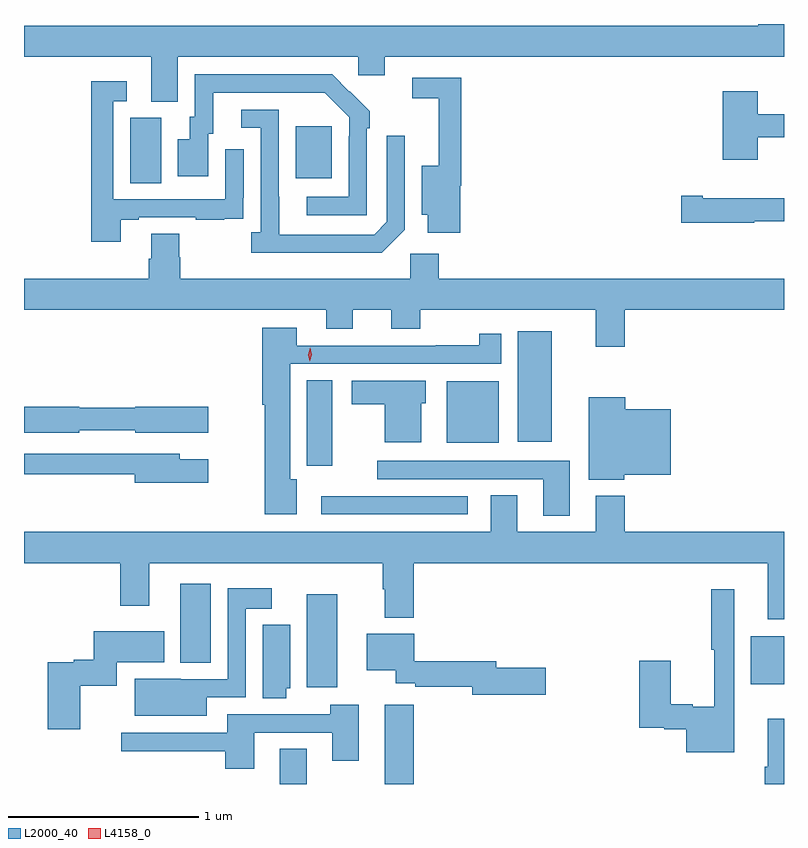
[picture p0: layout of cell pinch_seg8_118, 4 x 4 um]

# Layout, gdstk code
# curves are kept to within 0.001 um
import gdstk
lib = gdstk.Library(unit=1e-6, precision=1e-09)
def R(c, l, rs):  # rectangles x0, y0, x1, y1
    for r in rs: c.add(gdstk.rectangle(r[:2], r[2:], *l))
def P(c, l, *ps):  # polygons
    for p in ps: c.add(gdstk.Polygon(p, *l))
L2000_40 = (2000, 40)
L4158_0 = (4158, 0)

pinch_seg8_118 = lib.new_cell('pinch_seg8_118')
R(pinch_seg8_118, L2000_40, [(1054.331,1119.333,1054.471,1119.518), (1054.883,1119.333,1055.036,1119.751), (1054.472,1119.843,1054.633,1120.333), (1056.809,1119.857,1056.984,1120.111), (1053.806,1119.971,1053.967,1120.387), (1054.548,1120.752,1055.32,1120.848), (1054.472,1121.007,1054.606,1121.459), (1055.21,1121.129,1055.482,1121.452), (1055.582,1121.135,1055.761,1121.716), (1053.542,1122.496,1053.706,1122.84), (1054.415,1122.521,1054.603,1122.796)])
P(pinch_seg8_118, L2000_40, [(1053.793,1123.16),(1054.743,1123.16),(1054.743,1123.062),(1054.882,1123.062),(1054.882,1123.16),(1056.984,1123.16),(1056.984,1123.333),(1056.848,1123.333),(1056.848,1123.324),(1052.984,1123.324),(1052.984,1123.16),(1053.653,1123.16),(1053.653,1122.925),(1053.793,1122.925)],
  [(1054.788,1122.785),(1054.803,1122.785),(1054.803,1122.873),(1054.606,1123.068),(1053.882,1123.068),(1053.882,1122.846),(1053.857,1122.846),(1053.857,1122.727),(1053.794,1122.727),(1053.794,1122.531),(1053.955,1122.531),(1053.955,1122.756),(1053.979,1122.756),(1053.979,1122.972),(1054.567,1122.972),(1054.695,1122.843),(1054.695,1122.743),(1054.692,1122.743),(1054.692,1122.423),(1054.473,1122.423),(1054.473,1122.327),(1054.788,1122.327)],
  [(1055.279,1122.482),(1055.285,1122.482),(1055.285,1123.05),(1055.028,1123.05),(1055.028,1122.942),(1055.168,1122.942),(1055.168,1122.586),(1055.078,1122.586),(1055.078,1122.329),(1055.108,1122.329),(1055.108,1122.234),(1055.279,1122.234)],
  [(1053.493,1122.303),(1053.589,1122.303),(1053.589,1122.315),(1053.889,1122.315),(1053.889,1122.303),(1054.037,1122.303),(1054.037,1122.309),(1054.139,1122.309),(1054.139,1122.418),(1054.14,1122.418),(1054.14,1122.673),(1054.044,1122.673),(1054.044,1122.411),(1053.453,1122.411),(1053.453,1122.927),(1053.526,1122.927),(1053.526,1123.033),(1053.337,1123.033),(1053.337,1122.186),(1053.493,1122.186)],
  [(1056.845,1122.738),(1056.984,1122.738),(1056.984,1122.859),(1056.845,1122.859),(1056.845,1122.979),(1056.662,1122.979),(1056.662,1122.618),(1056.845,1122.618)],
  [(1054.989,1122.249),(1054.989,1122.745),(1054.893,1122.745),(1054.893,1122.291),(1054.827,1122.225),(1054.327,1122.225),(1054.326,1122.882),(1054.128,1122.882),(1054.128,1122.786),(1054.23,1122.786),(1054.23,1122.238),(1054.179,1122.238),(1054.179,1122.128),(1054.868,1122.128)],
  [(1056.828,1122.294),(1056.984,1122.294),(1056.984,1122.415),(1056.556,1122.415),(1056.556,1122.428),(1056.444,1122.428),(1056.444,1122.286),(1056.828,1122.286)],
  [(1056.146,1121.828),(1056.984,1121.828),(1056.984,1121.992),(1055.168,1121.992),(1055.168,1122.124),(1055.016,1122.124),(1055.016,1121.992),(1053.806,1121.992),(1053.806,1122.105),(1053.801,1122.105),(1053.801,1122.23),(1053.653,1122.23),(1053.653,1122.098),(1053.641,1122.098),(1053.641,1121.992),(1052.984,1121.992),(1052.984,1121.828),(1054.574,1121.828),(1054.574,1121.729),(1054.714,1121.729),(1054.714,1121.828),(1054.916,1121.828),(1054.916,1121.729),(1055.069,1121.729),(1055.069,1121.828),(1055.993,1121.828),(1055.993,1121.634),(1056.146,1121.634)],
  [(1054.42,1120.936),(1054.384,1120.936),(1054.384,1121.544),(1055.497,1121.544),(1055.497,1121.704),(1055.38,1121.704),(1055.38,1121.642),(1055.152,1121.642),(1055.152,1121.64),(1054.42,1121.64),(1054.42,1121.734),(1054.238,1121.734),(1054.238,1121.33),(1054.25,1121.33),(1054.25,1120.754),(1054.42,1120.754)],
  [(1055.074,1121.337),(1055.098,1121.337),(1055.098,1121.455),(1054.71,1121.455),(1054.71,1121.333),(1054.883,1121.333),(1054.883,1121.132),(1055.074,1121.132)],
  [(1056.144,1120.961),(1056.388,1120.961),(1056.388,1121.305),(1056.148,1121.305),(1056.148,1121.368),(1055.957,1121.368),(1055.957,1120.934),(1056.144,1120.934)],
  [(1053.276,1121.196),(1053.57,1121.196),(1053.57,1121.183),(1053.955,1121.183),(1053.955,1121.318),(1053.57,1121.318),(1053.57,1121.312),(1053.276,1121.312),(1053.276,1121.318),(1052.984,1121.318),(1052.984,1121.183),(1053.276,1121.183)],
  [(1053.955,1121.041),(1053.805,1121.041),(1053.805,1121.07),(1052.984,1121.07),(1052.984,1120.962),(1053.566,1120.962),(1053.566,1120.919),(1053.955,1120.919)],
  [(1055.857,1121.034),(1054.842,1121.034),(1054.842,1120.938),(1055.717,1120.938),(1055.717,1120.746),(1055.857,1120.746)],
  [(1056.984,1120.66),(1056.146,1120.66),(1056.146,1120.849),(1055.993,1120.849),(1055.993,1120.66),(1055.581,1120.66),(1055.581,1120.853),(1055.441,1120.853),(1055.441,1120.66),(1052.984,1120.66),(1052.984,1120.496),(1053.491,1120.496),(1053.491,1120.272),(1053.643,1120.272),(1053.643,1120.496),(1054.871,1120.496),(1054.871,1120.358),(1054.883,1120.358),(1054.883,1120.208),(1055.036,1120.208),(1055.036,1120.496),(1056.899,1120.496),(1056.899,1120.2),(1056.984,1120.2)],
  [(1053.946,1119.789),(1054.152,1119.789),(1054.152,1120.256),(1054.288,1120.256),(1054.288,1120.363),(1054.056,1120.363),(1054.056,1119.885),(1053.81,1119.885),(1053.81,1119.886),(1053.566,1119.886),(1053.566,1119.692),(1053.946,1119.692)],
  [(1056.721,1120.357),(1056.6,1120.357),(1056.6,1120.04),(1056.617,1120.04),(1056.617,1119.739),(1056.503,1119.739),(1056.503,1119.752),(1056.388,1119.752),(1056.388,1119.982),(1056.223,1119.982),(1056.223,1119.629),(1056.354,1119.629),(1056.354,1119.622),(1056.47,1119.622),(1056.47,1119.5),(1056.721,1119.5)],
  [(1054.363,1119.837),(1054.384,1119.837),(1054.384,1120.171),(1054.241,1120.171),(1054.241,1119.784),(1054.363,1119.784)],
  [(1053.28,1119.851),(1053.472,1119.851),(1053.472,1119.974),(1053.721,1119.974),(1053.721,1120.138),(1053.35,1120.138),(1053.35,1119.986),(1053.246,1119.986),(1053.246,1119.973),(1053.11,1119.973),(1053.11,1119.621),(1053.28,1119.621)],
  [(1055.731,1119.944),(1055.47,1119.944),(1055.47,1119.98),(1055.037,1119.98),(1055.037,1120.123),(1054.787,1120.123),(1054.787,1119.932),(1054.941,1119.932),(1054.941,1119.864),(1055.044,1119.864),(1055.044,1119.844),(1055.342,1119.844),(1055.342,1119.802),(1055.731,1119.802)],
  [(1054.195,1119.603),(1054.607,1119.603),(1054.607,1119.456),(1054.747,1119.456),(1054.747,1119.751),(1054.595,1119.751),(1054.595,1119.699),(1054.055,1119.699),(1054.055,1119.603),(1053.495,1119.603),(1053.495,1119.506),(1054.043,1119.506),(1054.043,1119.414),(1054.195,1119.414)],
  [(1056.984,1119.676),(1056.899,1119.676),(1056.899,1119.424),(1056.882,1119.424),(1056.882,1119.333),(1056.984,1119.333)])
P(pinch_seg8_118, L4158_0, [(1054.488,1121.557),(1054.488,1121.557),(1054.479,1121.593),(1054.49,1121.629),(1054.49,1121.629),(1054.491,1121.629),(1054.499,1121.592),(1054.488,1121.557)])

lib.write_gds('pinch_seg8_118.gds')
